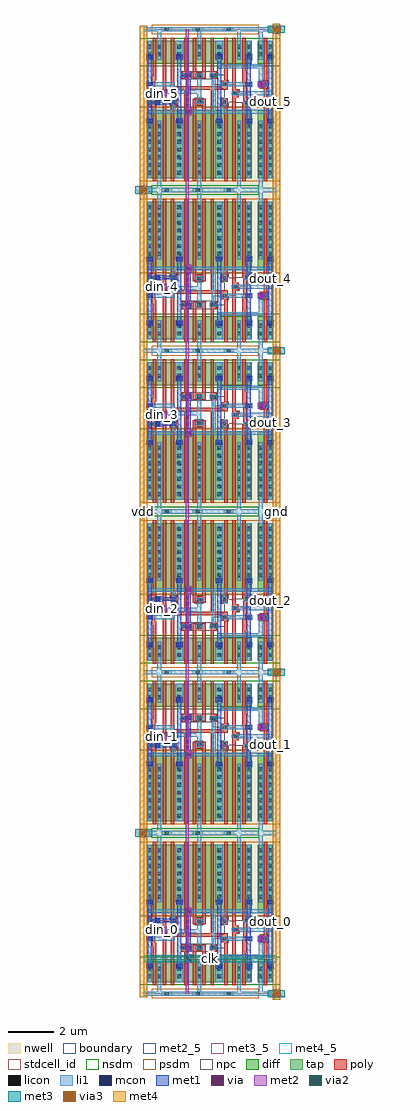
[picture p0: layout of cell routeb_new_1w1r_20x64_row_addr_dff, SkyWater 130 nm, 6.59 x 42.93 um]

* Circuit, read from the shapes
.subckt routeb_new_1w1r_20x64_row_addr_dff clk din_0 din_1 din_2 din_3 din_4 din_5 dout_0 dout_1 dout_2 dout_3 dout_4 dout_5 gnd vdd
XM1 gnd n1 n2 gnd sky130_fd_pr__nfet_01v8 w=1 l=0.15
XM2 gnd n3 n4 gnd sky130_fd_pr__nfet_01v8 w=1 l=0.15
XM3 gnd n5 n6 gnd sky130_fd_pr__nfet_01v8 w=1 l=0.15
XM4 gnd n7 n8 gnd sky130_fd_pr__nfet_01v8 w=1 l=0.15
XM5 gnd n9 n10 gnd sky130_fd_pr__nfet_01v8 w=1 l=0.15
XM6 gnd n11 n12 gnd sky130_fd_pr__nfet_01v8 w=1 l=0.15
XM7 n13 din_0 gnd gnd sky130_fd_pr__nfet_01v8 w=1 l=0.15
XM8 n14 din_1 gnd gnd sky130_fd_pr__nfet_01v8 w=1 l=0.15
XM9 n15 din_2 gnd gnd sky130_fd_pr__nfet_01v8 w=1 l=0.15
XM10 n16 din_3 gnd gnd sky130_fd_pr__nfet_01v8 w=1 l=0.15
XM11 n17 din_4 gnd gnd sky130_fd_pr__nfet_01v8 w=1 l=0.15
XM12 n18 din_5 gnd gnd sky130_fd_pr__nfet_01v8 w=1 l=0.15
XM13 n1 n19 n13 gnd sky130_fd_pr__nfet_01v8 w=1 l=0.15
XM14 n3 n20 n14 gnd sky130_fd_pr__nfet_01v8 w=1 l=0.15
XM15 n5 n21 n15 gnd sky130_fd_pr__nfet_01v8 w=1 l=0.15
XM16 n7 n22 n16 gnd sky130_fd_pr__nfet_01v8 w=1 l=0.15
XM17 n9 n23 n17 gnd sky130_fd_pr__nfet_01v8 w=1 l=0.15
XM18 n11 n24 n18 gnd sky130_fd_pr__nfet_01v8 w=1 l=0.15
XM19 n25 clk n1 gnd sky130_fd_pr__nfet_01v8 w=1 l=0.15
XM20 n26 clk n3 gnd sky130_fd_pr__nfet_01v8 w=1 l=0.15
XM21 n27 clk n5 gnd sky130_fd_pr__nfet_01v8 w=1 l=0.15
XM22 n28 clk n7 gnd sky130_fd_pr__nfet_01v8 w=1 l=0.15
XM23 n29 clk n9 gnd sky130_fd_pr__nfet_01v8 w=1 l=0.15
XM24 n30 clk n11 gnd sky130_fd_pr__nfet_01v8 w=1 l=0.15
XM25 gnd n2 n25 gnd sky130_fd_pr__nfet_01v8 w=1 l=0.15
XM26 gnd n4 n26 gnd sky130_fd_pr__nfet_01v8 w=1 l=0.15
XM27 gnd n6 n27 gnd sky130_fd_pr__nfet_01v8 w=1 l=0.15
XM28 gnd n8 n28 gnd sky130_fd_pr__nfet_01v8 w=1 l=0.15
XM29 gnd n10 n29 gnd sky130_fd_pr__nfet_01v8 w=1 l=0.15
XM30 gnd n12 n30 gnd sky130_fd_pr__nfet_01v8 w=1 l=0.15
XM31 n31 n2 gnd gnd sky130_fd_pr__nfet_01v8 w=1 l=0.15
XM32 n32 n4 gnd gnd sky130_fd_pr__nfet_01v8 w=1 l=0.15
XM33 n33 n6 gnd gnd sky130_fd_pr__nfet_01v8 w=1 l=0.15
XM34 n34 n8 gnd gnd sky130_fd_pr__nfet_01v8 w=1 l=0.15
XM35 n35 n10 gnd gnd sky130_fd_pr__nfet_01v8 w=1 l=0.15
XM36 n36 n12 gnd gnd sky130_fd_pr__nfet_01v8 w=1 l=0.15
XM37 sky130_fd_bd_sram__openram_dff_0/QN clk n31 gnd sky130_fd_pr__nfet_01v8 w=1 l=0.15
XM38 sky130_fd_bd_sram__openram_dff_1/QN clk n32 gnd sky130_fd_pr__nfet_01v8 w=1 l=0.15
XM39 sky130_fd_bd_sram__openram_dff_2/QN clk n33 gnd sky130_fd_pr__nfet_01v8 w=1 l=0.15
XM40 sky130_fd_bd_sram__openram_dff_3/QN clk n34 gnd sky130_fd_pr__nfet_01v8 w=1 l=0.15
XM41 sky130_fd_bd_sram__openram_dff_4/QN clk n35 gnd sky130_fd_pr__nfet_01v8 w=1 l=0.15
XM42 sky130_fd_bd_sram__openram_dff_5/QN clk n36 gnd sky130_fd_pr__nfet_01v8 w=1 l=0.15
XM43 n37 n19 sky130_fd_bd_sram__openram_dff_0/QN gnd sky130_fd_pr__nfet_01v8 w=1 l=0.15
XM44 n38 n20 sky130_fd_bd_sram__openram_dff_1/QN gnd sky130_fd_pr__nfet_01v8 w=1 l=0.15
XM45 n39 n21 sky130_fd_bd_sram__openram_dff_2/QN gnd sky130_fd_pr__nfet_01v8 w=1 l=0.15
XM46 n40 n22 sky130_fd_bd_sram__openram_dff_3/QN gnd sky130_fd_pr__nfet_01v8 w=1 l=0.15
XM47 n41 n23 sky130_fd_bd_sram__openram_dff_4/QN gnd sky130_fd_pr__nfet_01v8 w=1 l=0.15
XM48 n42 n24 sky130_fd_bd_sram__openram_dff_5/QN gnd sky130_fd_pr__nfet_01v8 w=1 l=0.15
XM49 gnd dout_0 n37 gnd sky130_fd_pr__nfet_01v8 w=1 l=0.15
XM50 gnd dout_1 n38 gnd sky130_fd_pr__nfet_01v8 w=1 l=0.15
XM51 gnd dout_2 n39 gnd sky130_fd_pr__nfet_01v8 w=1 l=0.15
XM52 gnd dout_3 n40 gnd sky130_fd_pr__nfet_01v8 w=1 l=0.15
XM53 gnd dout_4 n41 gnd sky130_fd_pr__nfet_01v8 w=1 l=0.15
XM54 gnd dout_5 n42 gnd sky130_fd_pr__nfet_01v8 w=1 l=0.15
XM55 n19 clk gnd gnd sky130_fd_pr__nfet_01v8 w=1 l=0.15
XM56 n20 clk gnd gnd sky130_fd_pr__nfet_01v8 w=1 l=0.15
XM57 n21 clk gnd gnd sky130_fd_pr__nfet_01v8 w=1 l=0.15
XM58 n22 clk gnd gnd sky130_fd_pr__nfet_01v8 w=1 l=0.15
XM59 n23 clk gnd gnd sky130_fd_pr__nfet_01v8 w=1 l=0.15
XM60 n24 clk gnd gnd sky130_fd_pr__nfet_01v8 w=1 l=0.15
XM61 dout_0 sky130_fd_bd_sram__openram_dff_0/QN gnd gnd sky130_fd_pr__nfet_01v8 w=1 l=0.15
XM62 dout_1 sky130_fd_bd_sram__openram_dff_1/QN gnd gnd sky130_fd_pr__nfet_01v8 w=1 l=0.15
XM63 dout_2 sky130_fd_bd_sram__openram_dff_2/QN gnd gnd sky130_fd_pr__nfet_01v8 w=1 l=0.15
XM64 dout_3 sky130_fd_bd_sram__openram_dff_3/QN gnd gnd sky130_fd_pr__nfet_01v8 w=1 l=0.15
XM65 dout_4 sky130_fd_bd_sram__openram_dff_4/QN gnd gnd sky130_fd_pr__nfet_01v8 w=1 l=0.15
XM66 dout_5 sky130_fd_bd_sram__openram_dff_5/QN gnd gnd sky130_fd_pr__nfet_01v8 w=1 l=0.15
XM67 vdd n1 n2 vdd sky130_fd_pr__pfet_01v8 w=3 l=0.15
XM68 vdd n3 n4 vdd sky130_fd_pr__pfet_01v8 w=3 l=0.15
XM69 vdd n5 n6 vdd sky130_fd_pr__pfet_01v8 w=3 l=0.15
XM70 vdd n7 n8 vdd sky130_fd_pr__pfet_01v8 w=3 l=0.15
XM71 vdd n9 n10 vdd sky130_fd_pr__pfet_01v8 w=3 l=0.15
XM72 vdd n11 n12 vdd sky130_fd_pr__pfet_01v8 w=3 l=0.15
XM73 n43 din_0 vdd vdd sky130_fd_pr__pfet_01v8 w=3 l=0.15
XM74 n44 din_1 vdd vdd sky130_fd_pr__pfet_01v8 w=3 l=0.15
XM75 n45 din_2 vdd vdd sky130_fd_pr__pfet_01v8 w=3 l=0.15
XM76 n46 din_3 vdd vdd sky130_fd_pr__pfet_01v8 w=3 l=0.15
XM77 n47 din_4 vdd vdd sky130_fd_pr__pfet_01v8 w=3 l=0.15
XM78 n48 din_5 vdd vdd sky130_fd_pr__pfet_01v8 w=3 l=0.15
XM79 n1 clk n43 vdd sky130_fd_pr__pfet_01v8 w=3 l=0.15
XM80 n3 clk n44 vdd sky130_fd_pr__pfet_01v8 w=3 l=0.15
XM81 n5 clk n45 vdd sky130_fd_pr__pfet_01v8 w=3 l=0.15
XM82 n7 clk n46 vdd sky130_fd_pr__pfet_01v8 w=3 l=0.15
XM83 n9 clk n47 vdd sky130_fd_pr__pfet_01v8 w=3 l=0.15
XM84 n11 clk n48 vdd sky130_fd_pr__pfet_01v8 w=3 l=0.15
XM85 n49 n19 n1 vdd sky130_fd_pr__pfet_01v8 w=3 l=0.15
XM86 n50 n20 n3 vdd sky130_fd_pr__pfet_01v8 w=3 l=0.15
XM87 n51 n21 n5 vdd sky130_fd_pr__pfet_01v8 w=3 l=0.15
XM88 n52 n22 n7 vdd sky130_fd_pr__pfet_01v8 w=3 l=0.15
XM89 n53 n23 n9 vdd sky130_fd_pr__pfet_01v8 w=3 l=0.15
XM90 n54 n24 n11 vdd sky130_fd_pr__pfet_01v8 w=3 l=0.15
XM91 vdd n2 n49 vdd sky130_fd_pr__pfet_01v8 w=3 l=0.15
XM92 vdd n4 n50 vdd sky130_fd_pr__pfet_01v8 w=3 l=0.15
XM93 vdd n6 n51 vdd sky130_fd_pr__pfet_01v8 w=3 l=0.15
XM94 vdd n8 n52 vdd sky130_fd_pr__pfet_01v8 w=3 l=0.15
XM95 vdd n10 n53 vdd sky130_fd_pr__pfet_01v8 w=3 l=0.15
XM96 vdd n12 n54 vdd sky130_fd_pr__pfet_01v8 w=3 l=0.15
XM97 n55 n2 vdd vdd sky130_fd_pr__pfet_01v8 w=3 l=0.15
XM98 n56 n4 vdd vdd sky130_fd_pr__pfet_01v8 w=3 l=0.15
XM99 n57 n6 vdd vdd sky130_fd_pr__pfet_01v8 w=3 l=0.15
XM100 n58 n8 vdd vdd sky130_fd_pr__pfet_01v8 w=3 l=0.15
XM101 n59 n10 vdd vdd sky130_fd_pr__pfet_01v8 w=3 l=0.15
XM102 n60 n12 vdd vdd sky130_fd_pr__pfet_01v8 w=3 l=0.15
XM103 sky130_fd_bd_sram__openram_dff_0/QN n19 n55 vdd sky130_fd_pr__pfet_01v8 w=3 l=0.15
XM104 sky130_fd_bd_sram__openram_dff_1/QN n20 n56 vdd sky130_fd_pr__pfet_01v8 w=3 l=0.15
XM105 sky130_fd_bd_sram__openram_dff_2/QN n21 n57 vdd sky130_fd_pr__pfet_01v8 w=3 l=0.15
XM106 sky130_fd_bd_sram__openram_dff_3/QN n22 n58 vdd sky130_fd_pr__pfet_01v8 w=3 l=0.15
XM107 sky130_fd_bd_sram__openram_dff_4/QN n23 n59 vdd sky130_fd_pr__pfet_01v8 w=3 l=0.15
XM108 sky130_fd_bd_sram__openram_dff_5/QN n24 n60 vdd sky130_fd_pr__pfet_01v8 w=3 l=0.15
XM109 n61 clk sky130_fd_bd_sram__openram_dff_0/QN vdd sky130_fd_pr__pfet_01v8 w=3 l=0.15
XM110 n62 clk sky130_fd_bd_sram__openram_dff_1/QN vdd sky130_fd_pr__pfet_01v8 w=3 l=0.15
XM111 n63 clk sky130_fd_bd_sram__openram_dff_2/QN vdd sky130_fd_pr__pfet_01v8 w=3 l=0.15
XM112 n64 clk sky130_fd_bd_sram__openram_dff_3/QN vdd sky130_fd_pr__pfet_01v8 w=3 l=0.15
XM113 n65 clk sky130_fd_bd_sram__openram_dff_4/QN vdd sky130_fd_pr__pfet_01v8 w=3 l=0.15
XM114 n66 clk sky130_fd_bd_sram__openram_dff_5/QN vdd sky130_fd_pr__pfet_01v8 w=3 l=0.15
XM115 vdd dout_0 n61 vdd sky130_fd_pr__pfet_01v8 w=3 l=0.15
XM116 vdd dout_1 n62 vdd sky130_fd_pr__pfet_01v8 w=3 l=0.15
XM117 vdd dout_2 n63 vdd sky130_fd_pr__pfet_01v8 w=3 l=0.15
XM118 vdd dout_3 n64 vdd sky130_fd_pr__pfet_01v8 w=3 l=0.15
XM119 vdd dout_4 n65 vdd sky130_fd_pr__pfet_01v8 w=3 l=0.15
XM120 vdd dout_5 n66 vdd sky130_fd_pr__pfet_01v8 w=3 l=0.15
XM121 n19 clk vdd vdd sky130_fd_pr__pfet_01v8 w=3 l=0.15
XM122 n20 clk vdd vdd sky130_fd_pr__pfet_01v8 w=3 l=0.15
XM123 n21 clk vdd vdd sky130_fd_pr__pfet_01v8 w=3 l=0.15
XM124 n22 clk vdd vdd sky130_fd_pr__pfet_01v8 w=3 l=0.15
XM125 n23 clk vdd vdd sky130_fd_pr__pfet_01v8 w=3 l=0.15
XM126 n24 clk vdd vdd sky130_fd_pr__pfet_01v8 w=3 l=0.15
XM127 dout_0 sky130_fd_bd_sram__openram_dff_0/QN vdd vdd sky130_fd_pr__pfet_01v8 w=3 l=0.15
XM128 dout_1 sky130_fd_bd_sram__openram_dff_1/QN vdd vdd sky130_fd_pr__pfet_01v8 w=3 l=0.15
XM129 dout_2 sky130_fd_bd_sram__openram_dff_2/QN vdd vdd sky130_fd_pr__pfet_01v8 w=3 l=0.15
XM130 dout_3 sky130_fd_bd_sram__openram_dff_3/QN vdd vdd sky130_fd_pr__pfet_01v8 w=3 l=0.15
XM131 dout_4 sky130_fd_bd_sram__openram_dff_4/QN vdd vdd sky130_fd_pr__pfet_01v8 w=3 l=0.15
XM132 dout_5 sky130_fd_bd_sram__openram_dff_5/QN vdd vdd sky130_fd_pr__pfet_01v8 w=3 l=0.15
.ends

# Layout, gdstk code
import gdstk
lib = gdstk.Library(unit=1e-6, precision=1e-09)
def R(c, l, rs):  # rectangles x0, y0, x1, y1
    for r in rs: c.add(gdstk.rectangle(r[:2], r[2:], *l))
def A(c, l, x, y, w, h, nx, ny, dx, dy):  # array of equal rectangles
    R(c, l, [(x+i*dx, y+j*dy, x+i*dx+w, y+j*dy+h) for i in range(nx) for j in range(ny)])
nwell = (64, 20)
diff = (65, 20)
tap = (65, 44)
poly = (66, 20)
licon = (66, 44)
li1 = (67, 20)
mcon = (67, 44)
met1 = (68, 20)
via = (68, 44)
met2_5 = (69, 5)
met2 = (69, 20)
via2 = (69, 44)
met3_5 = (70, 5)
met3 = (70, 20)
via3 = (70, 44)
met4_5 = (71, 5)
met4 = (71, 20)
stdcell_id = (81, 4)
nsdm = (93, 44)
psdm = (94, 20)
npc = (95, 20)
boundary = (235, 4)

sky130_fd_bd_sram__openr = lib.new_cell('sky130_fd_bd_sram__openram_dff')
R(sky130_fd_bd_sram__openr, nwell, [(-0.18,3.38,6.02,7.335)])
R(sky130_fd_bd_sram__openr, diff, [(0.14,0.51,4.75,1.51), (5.02,0.51,5.7,1.51), (0.14,3.56,4.75,6.56), (5.02,3.56,5.7,6.56)])
A(sky130_fd_bd_sram__openr, tap, 0.805, -0.085, 0.44, 0.17, 3, 2, 1.36, 7.07)
R(sky130_fd_bd_sram__openr, poly, [(0.405,0.38,0.555,2.085), (0.835,0.38,0.985,2.655), (1.195,0.38,1.345,2.505), (1.795,0.38,1.945,1.855), (2.155,0.38,2.305,1.885), (2.585,0.38,2.735,1.885), (2.945,0.38,3.095,1.855), (3.545,0.38,3.695,2.255), (3.905,0.38,4.055,2.655), (4.335,0.38,4.485,1.855), (5.285,0.38,5.435,2.255), (1.675,1.855,1.945,2.185), (2.945,1.855,3.215,2.185), (4.335,1.855,4.54,2.405), (2.155,1.885,2.735,2.155), (0.355,2.085,0.555,2.235), (0.355,2.235,0.505,3.055), (3.425,2.255,3.695,2.505), (5.165,2.255,5.435,2.585), (4.39,2.405,4.54,3.055), (1.195,2.505,3.695,2.655), (5.285,2.585,5.435,6.69), (0.715,2.655,0.985,2.985), (1.795,2.655,1.945,6.69), (2.945,2.655,3.095,6.69), (3.905,2.655,4.175,2.985), (0.835,2.985,0.985,6.69), (3.905,2.985,4.055,6.69), (1.195,3.03,1.465,3.36), (3.425,3.03,3.695,3.36), (0.235,3.055,0.505,3.335), (4.39,3.055,4.69,3.235), (2.155,3.065,2.735,3.335), (4.335,3.235,4.69,3.385), (0.235,3.335,0.555,3.385), (2.155,3.335,2.305,6.69), (2.585,3.335,2.735,6.69), (1.195,3.36,1.345,6.69), (3.545,3.36,3.695,6.69), (0.35,3.385,0.555,3.485), (4.335,3.385,4.485,6.69), (0.405,3.485,0.555,6.69)])
A(sky130_fd_bd_sram__openr, licon, 0.94, -0.085, 0.17, 0.17, 3, 2, 1.36, 7.07)
A(sky130_fd_bd_sram__openr, licon, 0.61, 0.675, 0.17, 0.17, 5, 2, 0.875, 0.34)
A(sky130_fd_bd_sram__openr, licon, 1.725, 1.935, 0.17, 0.17, 3, 1, 0.635, 0)
A(sky130_fd_bd_sram__openr, licon, 0.18, 4.185, 0.17, 0.17, 1, 7, 0, 0.34)
A(sky130_fd_bd_sram__openr, licon, 0.61, 4.185, 0.17, 0.17, 5, 7, 0.875, 0.34)
A(sky130_fd_bd_sram__openr, licon, 4.54, 4.185, 0.17, 0.17, 1, 7, 0, 0.34)
A(sky130_fd_bd_sram__openr, licon, 5.06, 4.185, 0.17, 0.17, 1, 7, 0, 0.34)
A(sky130_fd_bd_sram__openr, licon, 5.49, 4.185, 0.17, 0.17, 1, 7, 0, 0.34)
R(sky130_fd_bd_sram__openr, licon, [(0.18,0.675,0.35,0.845), (4.54,0.675,4.71,0.845), (5.06,0.675,5.23,0.845), (5.49,0.675,5.66,0.845), (0.18,1.015,0.35,1.185), (4.54,1.015,4.71,1.185), (5.06,1.015,5.23,1.185), (5.49,1.015,5.66,1.185), (3.475,2.335,3.645,2.505), (5.215,2.335,5.385,2.505), (0.765,2.735,0.935,2.905), (3.955,2.735,4.125,2.905), (1.245,3.11,1.415,3.28), (3.475,3.11,3.645,3.28), (2.36,3.115,2.53,3.285), (0.285,3.135,0.455,3.305), (4.47,3.135,4.64,3.305)])
A(sky130_fd_bd_sram__openr, li1, 0.61, 0.09, 0.17, 1.26, 3, 1, 1.75, 0)
A(sky130_fd_bd_sram__openr, li1, 0.61, 4.02, 0.17, 2.96, 3, 1, 1.75, 0)
R(sky130_fd_bd_sram__openr, li1, [(0,-0.09,5.84,0.09), (0,-0.09,5.84,0.09), (5.06,0.09,5.23,1.35), (0.18,0.51,0.35,1.35), (1.4,0.51,1.74,1.35), (3.15,0.51,3.49,1.35), (4.54,0.51,4.71,1.355), (5.49,0.51,5.66,1.355), (3.235,1.35,3.405,1.535), (3.235,1.535,5.23,1.705), (5.06,1.705,5.23,2.335), (1.64,1.935,2.065,2.105), (2.28,1.935,2.61,2.105), (2.915,1.935,3.245,2.105), (2.36,2.105,2.53,2.66), (2.995,2.105,3.165,3.535), (0.18,2.335,1.365,2.505), (3.395,2.335,4.71,2.505), (5.06,2.335,5.465,2.505), (1.195,2.505,1.365,2.66), (1.195,2.66,2.53,2.83), (0.685,2.735,1.015,2.905), (3.875,2.735,5.66,2.905), (2.36,2.83,2.53,3.115), (5.49,2.905,5.66,3.26), (1.245,3.03,1.415,3.535), (3.475,3.03,3.645,3.535), (2.28,3.115,2.61,3.285), (0.205,3.135,0.735,3.305), (4.39,3.135,4.72,3.305), (4.47,3.305,4.64,3.535), (0.205,3.535,5.66,3.705), (0.18,3.935,0.35,6.56), (1.485,3.935,1.655,4.02), (3.235,3.935,3.405,4.02), (4.54,3.935,4.71,6.56), (5.49,3.935,5.66,6.56), (1.4,4.02,1.74,6.56), (3.15,4.02,3.49,6.56), (5.06,4.02,5.23,6.98), (0,6.98,5.84,7.16), (0,6.98,5.84,7.16), (0,6.98,5.84,7.16)])
R(sky130_fd_bd_sram__openr, mcon, [(0.18,1.135,0.35,1.305), (1.485,1.135,1.655,1.305), (3.235,1.135,3.405,1.305), (4.54,1.135,4.71,1.305), (5.49,1.135,5.66,1.305), (1.895,1.935,2.065,2.105), (0.18,2.335,0.35,2.505), (4.54,2.335,4.71,2.505), (5.1,2.335,5.27,2.505), (0.765,2.735,0.935,2.905), (5.49,3.09,5.66,3.26), (0.565,3.135,0.735,3.305), (1.895,3.535,2.065,3.705), (0.18,3.935,0.35,4.105), (1.485,3.935,1.655,4.105), (3.235,3.935,3.405,4.105), (4.54,3.935,4.71,4.105), (5.49,3.935,5.66,4.105)])
R(sky130_fd_bd_sram__openr, met1, [(0.12,1.105,0.41,1.335), (1.425,1.105,1.715,1.335), (3.175,1.105,3.465,1.335), (4.48,1.105,4.77,1.335), (5.43,1.105,5.72,1.335), (0.18,1.335,0.35,2.305), (1.485,1.335,1.655,3.135), (3.235,1.335,3.405,3.905), (4.54,1.335,4.71,2.305), (5.49,1.335,5.66,3.045), (1.845,1.86,2.115,1.905), (1.835,1.905,2.125,2.135), (1.845,2.135,2.115,2.18), (1.895,2.18,2.065,3.46), (5.02,2.29,5.35,2.55), (0.12,2.305,0.41,2.535), (4.48,2.305,4.77,2.535), (0.18,2.535,0.35,3.905), (4.54,2.535,4.71,3.905), (0.685,2.69,1.015,2.95), (5.41,3.045,5.74,3.305), (0.505,3.105,0.795,3.135), (0.505,3.135,1.655,3.305), (0.505,3.305,0.795,3.335), (1.485,3.305,1.655,3.905), (5.49,3.305,5.66,3.905), (1.845,3.46,2.115,3.505), (1.835,3.505,2.125,3.735), (1.845,3.735,2.115,3.78), (0.12,3.905,0.41,4.135), (1.425,3.905,1.715,4.135), (3.175,3.905,3.465,4.135), (4.48,3.905,4.77,4.135), (5.43,3.905,5.72,4.135)])
R(sky130_fd_bd_sram__openr, via, [(5.11,2.345,5.26,2.495), (0.775,2.745,0.925,2.895), (5.5,3.1,5.65,3.25), (1.905,3.545,2.055,3.695)])
R(sky130_fd_bd_sram__openr, met2_5, [(0.685,2.69,1.015,2.95), (5.41,3.045,5.74,3.305), (1.845,3.46,2.115,3.78)])
R(sky130_fd_bd_sram__openr, met2, [(5.02,2.29,5.35,2.55), (0.685,2.69,1.015,2.95), (0.685,2.69,1.015,2.95), (0.685,2.69,1.015,2.95), (5.41,3.045,5.74,3.305), (5.41,3.045,5.74,3.305), (5.41,3.045,5.74,3.305), (1.845,3.46,2.115,3.78), (1.845,3.46,2.115,3.78), (1.845,3.46,2.115,3.78)])
R(sky130_fd_bd_sram__openr, stdcell_id, [(0,0,5.84,7.07)])
R(sky130_fd_bd_sram__openr, nsdm, [(-0.18,0.385,6.02,1.635), (0.36,6.86,5.075,7.07), (0.36,7.07,5.075,7.28)])
R(sky130_fd_bd_sram__openr, psdm, [(0.36,-0.21,5.075,0), (0.36,0,5.075,0.21), (-0.18,3.435,6.02,6.685)])
R(sky130_fd_bd_sram__openr, npc, [(1.625,1.835,3.265,2.01), (1.625,2.01,3.57,2.205), (3.07,2.205,3.57,2.235), (3.07,2.235,3.745,2.41), (5.115,2.235,5.485,2.605), (3.07,2.41,4.05,2.43), (3.375,2.43,4.05,2.605), (3.55,2.605,4.05,2.635), (0.665,2.635,1.035,2.81), (3.55,2.635,4.225,2.81), (0.36,2.81,1.34,3.01), (3.55,2.81,4.565,3.01), (0.36,3.01,1.515,3.035), (3.375,3.01,4.565,3.035), (2.26,3.015,2.63,3.385), (0.185,3.035,1.515,3.205), (3.375,3.035,4.74,3.205), (0.185,3.205,0.86,3.23), (1.145,3.205,1.515,3.38), (3.375,3.205,3.745,3.38), (4.03,3.205,4.74,3.23), (0.185,3.23,0.555,3.405), (4.37,3.23,4.74,3.405)])
R(sky130_fd_bd_sram__openr, boundary, [(0,0,5.84,7.07)])
sky130_fd_bd_sram__openr.add(gdstk.Label('QN', (5.035,2.52), layer=69, texttype=5))
sky130_fd_bd_sram__openr.add(gdstk.Label('CLK', (1.98,3.62), layer=69, texttype=5))
sky130_fd_bd_sram__openr.add(gdstk.Label('D', (0.85,2.82), layer=69, texttype=5))
sky130_fd_bd_sram__openr.add(gdstk.Label('Q', (5.575,3.175), layer=69, texttype=5))
sky130_fd_bd_sram__openr.add(gdstk.Label('VDD', (2.74,7.08), layer=67, texttype=5))
sky130_fd_bd_sram__openr.add(gdstk.Label('GND', (2.72,0), layer=67, texttype=5))
sky130_fd_bd_sram__openr.add(gdstk.Label('D', (0.85,2.82), layer=69, texttype=5))
sky130_fd_bd_sram__openr.add(gdstk.Label('Q', (5.575,3.175), layer=69, texttype=5))
sky130_fd_bd_sram__openr.add(gdstk.Label('clk', (1.98,3.62), layer=69, texttype=5))
sky130_fd_bd_sram__openr.add(gdstk.Label('vdd', (2.92,7.07), layer=67, texttype=5))
sky130_fd_bd_sram__openr.add(gdstk.Label('gnd', (2.92,0), layer=67, texttype=5))

routeb_new_1w1r_20x64_co = lib.new_cell('routeb_new_1w1r_20x64_contact_13')
R(routeb_new_1w1r_20x64_co, li1, [(0.06,0,0.23,0.33)])
R(routeb_new_1w1r_20x64_co, mcon, [(0.06,0.08,0.23,0.25)])
R(routeb_new_1w1r_20x64_co, met1, [(0,0.05,0.29,0.28)])
R(routeb_new_1w1r_20x64_co, stdcell_id, [(0,0,0.29,0.33)])
R(routeb_new_1w1r_20x64_co, boundary, [(0,0,0.29,0.33)])

c_routeb_new_1w1r_20x64_co = lib.new_cell('routeb_new_1w1r_20x64_contact_18')
R(c_routeb_new_1w1r_20x64_co, met1, [(0,0.03,0.32,0.29)])
R(c_routeb_new_1w1r_20x64_co, via, [(0.085,0.085,0.235,0.235)])
R(c_routeb_new_1w1r_20x64_co, met2, [(0.03,0,0.29,0.32)])
R(c_routeb_new_1w1r_20x64_co, stdcell_id, [(0,0,0.32,0.32)])
R(c_routeb_new_1w1r_20x64_co, boundary, [(0,0,0.32,0.32)])

c_routeb_new_1w1r_20x64_co_ = lib.new_cell('routeb_new_1w1r_20x64_contact_21')
R(c_routeb_new_1w1r_20x64_co_, met2, [(0.025,0,0.305,0.37)])
R(c_routeb_new_1w1r_20x64_co_, via2, [(0.065,0.085,0.265,0.285)])
R(c_routeb_new_1w1r_20x64_co_, met3, [(0,0.02,0.33,0.35)])
R(c_routeb_new_1w1r_20x64_co_, stdcell_id, [(0,0,0.33,0.37)])
R(c_routeb_new_1w1r_20x64_co_, boundary, [(0,0,0.33,0.37)])

c_routeb_new_1w1r_20x64_co__ = lib.new_cell('routeb_new_1w1r_20x64_contact_22')
R(c_routeb_new_1w1r_20x64_co__, met3, [(0,0.005,0.38,0.325)])
R(c_routeb_new_1w1r_20x64_co__, via3, [(0.09,0.065,0.29,0.265)])
R(c_routeb_new_1w1r_20x64_co__, met4, [(0.025,0,0.355,0.33)])
R(c_routeb_new_1w1r_20x64_co__, stdcell_id, [(0,0,0.38,0.33)])
R(c_routeb_new_1w1r_20x64_co__, boundary, [(0,0,0.38,0.33)])

routeb_new_1w1r_20x64_ro = lib.new_cell('routeb_new_1w1r_20x64_row_addr_dff')
R(routeb_new_1w1r_20x64_ro, met1, [(5.68,-0.13,6,0.13), (-0.16,6.94,0.16,7.2), (-0.16,6.94,0.16,7.2), (5.68,14.01,6,14.27), (5.68,14.01,6,14.27), (-0.16,21.08,0.16,21.34), (-0.16,21.08,0.16,21.34), (5.68,28.15,6,28.41), (5.68,28.15,6,28.41), (-0.16,35.22,0.16,35.48), (-0.16,35.22,0.16,35.48), (5.68,42.29,6,42.55)])
R(routeb_new_1w1r_20x64_ro, met2_5, [(0.685,2.69,1.015,2.95), (5.41,3.045,5.74,3.305), (5.41,10.835,5.74,11.095), (0.685,11.19,1.015,11.45), (0.685,16.83,1.015,17.09), (5.41,17.185,5.74,17.445), (5.41,24.975,5.74,25.235), (0.685,25.33,1.015,25.59), (0.685,30.97,1.015,31.23), (5.41,31.325,5.74,31.585), (5.41,39.115,5.74,39.375), (0.685,39.47,1.015,39.73)])
R(routeb_new_1w1r_20x64_ro, met2, [(5.7,-0.12,5.98,0.125), (1.845,0,1.985,42.42), (0.685,2.69,1.015,2.95), (5.41,3.045,5.74,3.305), (-0.14,6.95,0.14,7.195), (-0.14,6.95,0.14,7.195), (5.41,10.835,5.74,11.095), (0.685,11.19,1.015,11.45), (5.7,14.02,5.98,14.265), (5.7,14.02,5.98,14.265), (0.685,16.83,1.015,17.09), (5.41,17.185,5.74,17.445), (-0.14,21.09,0.14,21.335), (-0.14,21.09,0.14,21.335), (5.41,24.975,5.74,25.235), (0.685,25.33,1.015,25.59), (5.7,28.16,5.98,28.405), (5.7,28.16,5.98,28.405), (0.685,30.97,1.015,31.23), (5.41,31.325,5.74,31.585), (-0.14,35.23,0.14,35.475), (-0.14,35.23,0.14,35.475), (5.41,39.115,5.74,39.375), (0.685,39.47,1.015,39.73), (5.7,42.3,5.98,42.545)])
R(routeb_new_1w1r_20x64_ro, met3_5, [(0,1.39,5.84,1.69)])
R(routeb_new_1w1r_20x64_ro, met3, [(5.465,-0.16,6.215,0.16), (0,1.39,5.84,1.69), (-0.375,6.91,0.375,7.23), (-0.375,6.91,0.375,7.23), (5.465,13.98,6.215,14.3), (5.465,13.98,6.215,14.3), (-0.375,21.05,0.375,21.37), (-0.375,21.05,0.375,21.37), (5.465,28.12,6.215,28.44), (5.465,28.12,6.215,28.44), (-0.375,35.19,0.375,35.51), (-0.375,35.19,0.375,35.51), (5.465,42.26,6.215,42.58)])
R(routeb_new_1w1r_20x64_ro, met4_5, [(5.675,-0.255,6.005,42.675), (-0.165,-0.165,0.165,42.585)])
R(routeb_new_1w1r_20x64_ro, met4, [(5.675,-0.255,6.005,42.675), (-0.165,-0.165,0.165,42.585)])
R(routeb_new_1w1r_20x64_ro, stdcell_id, [(0,0,5.84,42.42)])
R(routeb_new_1w1r_20x64_ro, boundary, [(0,0,5.84,42.42)])
routeb_new_1w1r_20x64_ro.add(gdstk.Reference(sky130_fd_bd_sram__openr, (0,0)))
routeb_new_1w1r_20x64_ro.add(gdstk.Reference(sky130_fd_bd_sram__openr, (0,14.14), x_reflection=True))
routeb_new_1w1r_20x64_ro.add(gdstk.Reference(sky130_fd_bd_sram__openr, (0,14.14)))
routeb_new_1w1r_20x64_ro.add(gdstk.Reference(sky130_fd_bd_sram__openr, (0,28.28), x_reflection=True))
routeb_new_1w1r_20x64_ro.add(gdstk.Reference(sky130_fd_bd_sram__openr, (0,28.28)))
routeb_new_1w1r_20x64_ro.add(gdstk.Reference(sky130_fd_bd_sram__openr, (0,42.42), x_reflection=True))
routeb_new_1w1r_20x64_ro.add(gdstk.Reference(routeb_new_1w1r_20x64_co, (-0.145,6.905)))
routeb_new_1w1r_20x64_ro.add(gdstk.Reference(c_routeb_new_1w1r_20x64_co, (-0.16,6.91)))
routeb_new_1w1r_20x64_ro.add(gdstk.Reference(c_routeb_new_1w1r_20x64_co_, (-0.165,6.885)))
routeb_new_1w1r_20x64_ro.add(gdstk.Reference(c_routeb_new_1w1r_20x64_co__, (-0.19,6.905)))
routeb_new_1w1r_20x64_ro.add(gdstk.Reference(routeb_new_1w1r_20x64_co, (-0.145,6.905)))
routeb_new_1w1r_20x64_ro.add(gdstk.Reference(c_routeb_new_1w1r_20x64_co, (-0.16,6.91)))
routeb_new_1w1r_20x64_ro.add(gdstk.Reference(c_routeb_new_1w1r_20x64_co_, (-0.165,6.885)))
routeb_new_1w1r_20x64_ro.add(gdstk.Reference(c_routeb_new_1w1r_20x64_co__, (-0.19,6.905)))
routeb_new_1w1r_20x64_ro.add(gdstk.Reference(routeb_new_1w1r_20x64_co, (-0.145,21.045)))
routeb_new_1w1r_20x64_ro.add(gdstk.Reference(c_routeb_new_1w1r_20x64_co, (-0.16,21.05)))
routeb_new_1w1r_20x64_ro.add(gdstk.Reference(c_routeb_new_1w1r_20x64_co_, (-0.165,21.025)))
routeb_new_1w1r_20x64_ro.add(gdstk.Reference(c_routeb_new_1w1r_20x64_co__, (-0.19,21.045)))
routeb_new_1w1r_20x64_ro.add(gdstk.Reference(routeb_new_1w1r_20x64_co, (-0.145,21.045)))
routeb_new_1w1r_20x64_ro.add(gdstk.Reference(c_routeb_new_1w1r_20x64_co, (-0.16,21.05)))
routeb_new_1w1r_20x64_ro.add(gdstk.Reference(c_routeb_new_1w1r_20x64_co_, (-0.165,21.025)))
routeb_new_1w1r_20x64_ro.add(gdstk.Reference(c_routeb_new_1w1r_20x64_co__, (-0.19,21.045)))
routeb_new_1w1r_20x64_ro.add(gdstk.Reference(routeb_new_1w1r_20x64_co, (-0.145,35.185)))
routeb_new_1w1r_20x64_ro.add(gdstk.Reference(c_routeb_new_1w1r_20x64_co, (-0.16,35.19)))
routeb_new_1w1r_20x64_ro.add(gdstk.Reference(c_routeb_new_1w1r_20x64_co_, (-0.165,35.165)))
routeb_new_1w1r_20x64_ro.add(gdstk.Reference(c_routeb_new_1w1r_20x64_co__, (-0.19,35.185)))
routeb_new_1w1r_20x64_ro.add(gdstk.Reference(routeb_new_1w1r_20x64_co, (-0.145,35.185)))
routeb_new_1w1r_20x64_ro.add(gdstk.Reference(c_routeb_new_1w1r_20x64_co, (-0.16,35.19)))
routeb_new_1w1r_20x64_ro.add(gdstk.Reference(c_routeb_new_1w1r_20x64_co_, (-0.165,35.165)))
routeb_new_1w1r_20x64_ro.add(gdstk.Reference(c_routeb_new_1w1r_20x64_co__, (-0.19,35.185)))
routeb_new_1w1r_20x64_ro.add(gdstk.Reference(routeb_new_1w1r_20x64_co, (5.695,-0.165)))
routeb_new_1w1r_20x64_ro.add(gdstk.Reference(c_routeb_new_1w1r_20x64_co, (5.68,-0.16)))
routeb_new_1w1r_20x64_ro.add(gdstk.Reference(c_routeb_new_1w1r_20x64_co_, (5.675,-0.185)))
routeb_new_1w1r_20x64_ro.add(gdstk.Reference(c_routeb_new_1w1r_20x64_co__, (5.65,-0.165)))
routeb_new_1w1r_20x64_ro.add(gdstk.Reference(routeb_new_1w1r_20x64_co, (5.695,13.975)))
routeb_new_1w1r_20x64_ro.add(gdstk.Reference(c_routeb_new_1w1r_20x64_co, (5.68,13.98)))
routeb_new_1w1r_20x64_ro.add(gdstk.Reference(c_routeb_new_1w1r_20x64_co_, (5.675,13.955)))
routeb_new_1w1r_20x64_ro.add(gdstk.Reference(c_routeb_new_1w1r_20x64_co__, (5.65,13.975)))
routeb_new_1w1r_20x64_ro.add(gdstk.Reference(routeb_new_1w1r_20x64_co, (5.695,13.975)))
routeb_new_1w1r_20x64_ro.add(gdstk.Reference(c_routeb_new_1w1r_20x64_co, (5.68,13.98)))
routeb_new_1w1r_20x64_ro.add(gdstk.Reference(c_routeb_new_1w1r_20x64_co_, (5.675,13.955)))
routeb_new_1w1r_20x64_ro.add(gdstk.Reference(c_routeb_new_1w1r_20x64_co__, (5.65,13.975)))
routeb_new_1w1r_20x64_ro.add(gdstk.Reference(routeb_new_1w1r_20x64_co, (5.695,28.115)))
routeb_new_1w1r_20x64_ro.add(gdstk.Reference(c_routeb_new_1w1r_20x64_co, (5.68,28.12)))
routeb_new_1w1r_20x64_ro.add(gdstk.Reference(c_routeb_new_1w1r_20x64_co_, (5.675,28.095)))
routeb_new_1w1r_20x64_ro.add(gdstk.Reference(c_routeb_new_1w1r_20x64_co__, (5.65,28.115)))
routeb_new_1w1r_20x64_ro.add(gdstk.Reference(routeb_new_1w1r_20x64_co, (5.695,28.115)))
routeb_new_1w1r_20x64_ro.add(gdstk.Reference(c_routeb_new_1w1r_20x64_co, (5.68,28.12)))
routeb_new_1w1r_20x64_ro.add(gdstk.Reference(c_routeb_new_1w1r_20x64_co_, (5.675,28.095)))
routeb_new_1w1r_20x64_ro.add(gdstk.Reference(c_routeb_new_1w1r_20x64_co__, (5.65,28.115)))
routeb_new_1w1r_20x64_ro.add(gdstk.Reference(routeb_new_1w1r_20x64_co, (5.695,42.255)))
routeb_new_1w1r_20x64_ro.add(gdstk.Reference(c_routeb_new_1w1r_20x64_co, (5.68,42.26)))
routeb_new_1w1r_20x64_ro.add(gdstk.Reference(c_routeb_new_1w1r_20x64_co_, (5.675,42.235)))
routeb_new_1w1r_20x64_ro.add(gdstk.Reference(c_routeb_new_1w1r_20x64_co__, (5.65,42.255)))
routeb_new_1w1r_20x64_ro.add(gdstk.Reference(c_routeb_new_1w1r_20x64_co_, (1.815,1.355)))
routeb_new_1w1r_20x64_ro.add(gdstk.Label('vdd', (0,21.21), layer=71, texttype=5))
routeb_new_1w1r_20x64_ro.add(gdstk.Label('gnd', (5.84,21.21), layer=71, texttype=5))
routeb_new_1w1r_20x64_ro.add(gdstk.Label('din_0', (0.85,2.82), layer=69, texttype=5))
routeb_new_1w1r_20x64_ro.add(gdstk.Label('dout_0', (5.575,3.175), layer=69, texttype=5))
routeb_new_1w1r_20x64_ro.add(gdstk.Label('din_1', (0.85,11.32), layer=69, texttype=5))
routeb_new_1w1r_20x64_ro.add(gdstk.Label('dout_1', (5.575,10.965), layer=69, texttype=5))
routeb_new_1w1r_20x64_ro.add(gdstk.Label('din_2', (0.85,16.96), layer=69, texttype=5))
routeb_new_1w1r_20x64_ro.add(gdstk.Label('dout_2', (5.575,17.315), layer=69, texttype=5))
routeb_new_1w1r_20x64_ro.add(gdstk.Label('din_3', (0.85,25.46), layer=69, texttype=5))
routeb_new_1w1r_20x64_ro.add(gdstk.Label('dout_3', (5.575,25.105), layer=69, texttype=5))
routeb_new_1w1r_20x64_ro.add(gdstk.Label('din_4', (0.85,31.1), layer=69, texttype=5))
routeb_new_1w1r_20x64_ro.add(gdstk.Label('dout_4', (5.575,31.455), layer=69, texttype=5))
routeb_new_1w1r_20x64_ro.add(gdstk.Label('din_5', (0.85,39.6), layer=69, texttype=5))
routeb_new_1w1r_20x64_ro.add(gdstk.Label('dout_5', (5.575,39.245), layer=69, texttype=5))
routeb_new_1w1r_20x64_ro.add(gdstk.Label('clk', (2.92,1.54), layer=70, texttype=5))

lib.write_gds('routeb_new_1w1r_20x64_row_addr_dff.gds')
